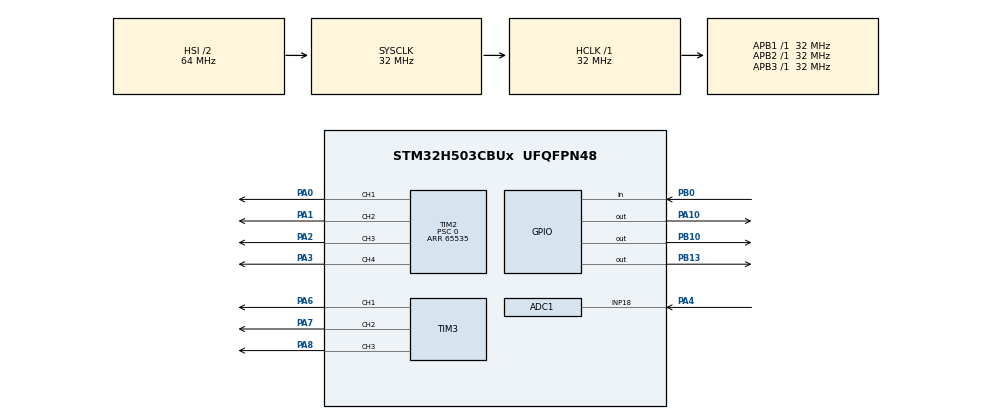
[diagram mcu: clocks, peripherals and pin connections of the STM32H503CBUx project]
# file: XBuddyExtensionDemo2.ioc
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ADC1.Channel-0\#ChannelRegularConversion=ADC_CHANNEL_18
ADC1.ClockPrescaler=ADC_CLOCK_SYNC_PCLK_DIV4
ADC1.ContinuousConvMode=DISABLE
ADC1.ExternalTrigConv=ADC_EXTERNALTRIG_T1_TRGO
ADC1.MonitoredBy-0\#ChannelRegularConversion=__NULL
ADC1.NbrOfConversionFlag=1
ADC1.OffsetNumber-0\#ChannelRegularConversion=ADC_OFFSET_NONE
ADC1.Rank-0\#ChannelRegularConversion=1
ADC1.SamplingTime-0\#ChannelRegularConversion=ADC_SAMPLETIME_640CYCLES_5
ADC1.master=1
BOOTPATH.BootPathName=LEGACY
BOOTPATH.UserSelectedBootPath=LEGACY
Mcu.Family=STM32H5
Mcu.Name=STM32H503CBUx
Mcu.Package=UFQFPN48
NVIC.ADC1_IRQn=true\:0\:0\:false\:false\:true\:true\:true\:true
NVIC.PriorityGroup=NVIC_PRIORITYGROUP_4
PA0.Signal=S_TIM2_CH1
PA1.Signal=S_TIM2_CH2
PA10.PinState=GPIO_PIN_SET
PA10.Signal=GPIO_Output
PA2.Signal=S_TIM2_CH3
PA3.Signal=S_TIM2_CH4
PA4.Signal=ADCx_INP18
PA6.Signal=S_TIM3_CH1
PA7.Signal=S_TIM3_CH2
PA8.Signal=S_TIM3_CH3
PB0.GPIO_PuPd=GPIO_PULLUP
PB0.Signal=GPIO_Input
PB10.PinState=GPIO_PIN_SET
PB10.Signal=GPIO_Output
PB13.PinState=GPIO_PIN_SET
PB13.Signal=GPIO_Output
PH0-OSC_IN(PH0).Mode=HSE-External-Oscillator
PH0-OSC_IN(PH0).Signal=RCC_OSC_IN
PH1-OSC_OUT(PH1).Mode=HSE-External-Oscillator
PH1-OSC_OUT(PH1).Signal=RCC_OSC_OUT
ProjectManager.HeapSize=0x200
ProjectManager.StackSize=0x400
ProjectManager.TargetToolchain=STM32CubeIDE
RCC.ADCFreq_Value=32000000
RCC.AHBFreq_Value=32000000
RCC.APB1Freq_Value=32000000
RCC.APB1TimFreq_Value=32000000
RCC.APB2Freq_Value=32000000
RCC.APB2TimFreq_Value=32000000
RCC.APB3Freq_Value=32000000
RCC.CSI_VALUE=4000000
RCC.CortexFreq_Value=32000000
RCC.EPOD_VALUE=4000000
RCC.HCLKFreq_Value=32000000
RCC.HSE_VALUE=25000000
RCC.HSI48_VALUE=48000000
RCC.HSI_VALUE=64000000
RCC.LSE_VALUE=32768
RCC.LSIRC_VALUE=32000
RCC.SYSCLKFreq_VALUE=32000000
RCC.USBFreq_Value=48000000
RCC.VCOOutputFreq_Value=516000000
SH.ADCx_INP18.0=ADC1_INP18,IN18-Single-Ended
SH.S_TIM2_CH1.0=TIM2_CH1,PWM Generation1 CH1
SH.S_TIM2_CH2.0=TIM2_CH2,PWM Generation2 CH2
SH.S_TIM2_CH3.0=TIM2_CH3,PWM Generation3 CH3
SH.S_TIM2_CH4.0=TIM2_CH4,PWM Generation4 CH4
SH.S_TIM3_CH1.0=TIM3_CH1,PWM Generation1 CH1
SH.S_TIM3_CH2.0=TIM3_CH2,PWM Generation2 CH2
SH.S_TIM3_CH3.0=TIM3_CH3,PWM Generation3 CH3
TIM1.TIM_MasterOutputTrigger=TIM_TRGO_UPDATE
TIM2.AutoReloadPreload=TIM_AUTORELOAD_PRELOAD_ENABLE
TIM2.Channel-PWM\ Generation1\ CH1=TIM_CHANNEL_1
TIM2.Channel-PWM\ Generation2\ CH2=TIM_CHANNEL_2
TIM2.Channel-PWM\ Generation3\ CH3=TIM_CHANNEL_3
TIM2.Channel-PWM\ Generation4\ CH4=TIM_CHANNEL_4
TIM2.PeriodNoDither=65535
TIM2.Prescaler=0
TIM3.AutoReloadPreload=TIM_AUTORELOAD_PRELOAD_ENABLE
TIM3.Channel-PWM\ Generation1\ CH1=TIM_CHANNEL_1
TIM3.Channel-PWM\ Generation2\ CH2=TIM_CHANNEL_2
TIM3.Channel-PWM\ Generation3\ CH3=TIM_CHANNEL_3
VP_BOOTPATH_VS_BOOTPATH.Mode=BP_Activate
VP_CORTEX_M33_NS_VS_Hclk.Mode=Hclk_Mode
VP_ICACHE_VS_ICACHE.Mode=DefaultMode
VP_MEMORYMAP_VS_MEMORYMAP.Mode=CurAppReg
VP_PWR_VS_DBSignals.Mode=DisableDeadBatterySignals
VP_PWR_VS_LPOM.Mode=PowerOptimisation
VP_PWR_VS_SECSignals.Mode=Security/Privilege
VP_TIM1_VS_ClockSourceINT.Mode=Internal
VP_TIM2_VS_ClockSourceINT.Mode=Internal
VP_TIM3_VS_ClockSourceINT.Mode=Internal
board=custom

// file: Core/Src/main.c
/* USER CODE BEGIN Header */
/**
  ******************************************************************************
  * @file           : main.c
  * @brief          : Main program body
  ******************************************************************************
  * @attention
  *
  * Copyright (c) 2024 STMicroelectronics.
  * All rights reserved.
  *
  * This software is licensed under terms that can be found in the LICENSE file
  * in the root directory of this software component.
  * If no LICENSE file comes with this software, it is provided AS-IS.
  *
  ******************************************************************************
  */
/* USER CODE END Header */
#include "main.h"

ADC_HandleTypeDef hadc1;

TIM_HandleTypeDef htim1;
TIM_HandleTypeDef htim2;
TIM_HandleTypeDef htim3;

void SystemClock_Config(void);
static void MX_GPIO_Init(void);
static void MX_ICACHE_Init(void);
static void MX_TIM2_Init(void);
static void MX_TIM3_Init(void);
static void MX_ADC1_Init(void);
static void MX_TIM1_Init(void);

int main(void)
{

  /* MCU Configuration--------------------------------------------------------*/

  /* Reset of all peripherals, Initializes the Flash interface and the Systick. */
  HAL_Init();

  /* Configure the system clock */
  SystemClock_Config();

  /* Initialize all configured peripherals */
  MX_GPIO_Init();
  MX_ICACHE_Init();
  MX_TIM2_Init();
  MX_TIM3_Init();
  MX_ADC1_Init();
  MX_TIM1_Init();
  /* USER CODE BEGIN 2 */

  HAL_TIM_PWM_Start(&htim2, TIM_CHANNEL_1);
  HAL_TIM_PWM_Start(&htim2, TIM_CHANNEL_2);
  HAL_TIM_PWM_Start(&htim2, TIM_CHANNEL_3);
  HAL_TIM_PWM_Start(&htim2, TIM_CHANNEL_4);

  HAL_TIM_PWM_Start(&htim3, TIM_CHANNEL_1);
  HAL_TIM_PWM_Start(&htim3, TIM_CHANNEL_2);
  HAL_TIM_PWM_Start(&htim3, TIM_CHANNEL_3);

  HAL_TIM_Base_Start(&htim1);

    /* Start ADC in interrupt mode */
  HAL_ADC_Start_IT(&hadc1);

  const float color_red[4] = 	{0,0,0,1};
  const float color_green[4] = 	{0,0,1,0};
  const float color_blue[4] = 	{0,1,0,0};
  const float color_yellow[4] = {0,0,1,1};
  const float color_white[4] = 	{0,1,1,1};

  const int blink_delay_ms = 2000;

  const float led_power = 0.8;
  const float fan_power = 0.35;

  /* USER CODE END 2 */

  /* Infinite loop */
  while (1)
  {

    /* USER CODE BEGIN 3 */
	  /*TIM2->CCR1 = 2000; //D_PWM_W
	  TIM2->CCR2 = 2000; //D_PWM_B
	  TIM2->CCR3 = 2000; //D_PWM_G
	  TIM2->CCR4 = 2000; //D_PWM_R*/

	  TIM3->CCR1 = (int)(65532*led_power); //D_PWM_STRIP - 80% PWM
	  TIM3->CCR2 = 65532 - (int)(65532*fan_power); //D_FAN2_PWM - 55% PWM (value inverted)
	  TIM3->CCR3 = 65532 - (int)(65532*fan_power); //D_FAN1_PWM - 55% PWM (value inverted)

	  while (1){
		  set_wbgr_strip_color(color_white);
		  HAL_Delay(blink_delay_ms);
		  set_wbgr_strip_color(color_blue);
		  HAL_Delay(blink_delay_ms);
		  set_wbgr_strip_color(color_green);
		  HAL_Delay(blink_delay_ms);
		  set_wbgr_strip_color(color_yellow);
		  HAL_Delay(blink_delay_ms);
		  set_wbgr_strip_color(color_red);
		  HAL_Delay(blink_delay_ms);
	  }
  }
  /* USER CODE END 3 */
}

void SystemClock_Config(void)
{
  RCC_OscInitTypeDef RCC_OscInitStruct = {0};
  RCC_ClkInitTypeDef RCC_ClkInitStruct = {0};

  /** Configure the main internal regulator output voltage
  */
  __HAL_PWR_VOLTAGESCALING_CONFIG(PWR_REGULATOR_VOLTAGE_SCALE3);

  while(!__HAL_PWR_GET_FLAG(PWR_FLAG_VOSRDY)) {}

  /** Initializes the RCC Oscillators according to the specified parameters
  * in the RCC_OscInitTypeDef structure.
  */
  RCC_OscInitStruct.OscillatorType = RCC_OSCILLATORTYPE_HSI;
  RCC_OscInitStruct.HSIState = RCC_HSI_ON;
  RCC_OscInitStruct.HSIDiv = RCC_HSI_DIV2;
  RCC_OscInitStruct.HSICalibrationValue = RCC_HSICALIBRATION_DEFAULT;
  RCC_OscInitStruct.PLL.PLLState = RCC_PLL_NONE;
  if (HAL_RCC_OscConfig(&RCC_OscInitStruct) != HAL_OK)
  {
    Error_Handler();
  }

  /** Initializes the CPU, AHB and APB buses clocks
  */
  RCC_ClkInitStruct.ClockType = RCC_CLOCKTYPE_HCLK|RCC_CLOCKTYPE_SYSCLK
                              |RCC_CLOCKTYPE_PCLK1|RCC_CLOCKTYPE_PCLK2
                              |RCC_CLOCKTYPE_PCLK3;
  RCC_ClkInitStruct.SYSCLKSource = RCC_SYSCLKSOURCE_HSI;
  RCC_ClkInitStruct.AHBCLKDivider = RCC_SYSCLK_DIV1;
  RCC_ClkInitStruct.APB1CLKDivider = RCC_HCLK_DIV1;
  RCC_ClkInitStruct.APB2CLKDivider = RCC_HCLK_DIV1;
  RCC_ClkInitStruct.APB3CLKDivider = RCC_HCLK_DIV1;

  if (HAL_RCC_ClockConfig(&RCC_ClkInitStruct, FLASH_LATENCY_1) != HAL_OK)
  {
    Error_Handler();
  }

  /** Configure the programming delay
  */
  __HAL_FLASH_SET_PROGRAM_DELAY(FLASH_PROGRAMMING_DELAY_0);
}

static void MX_ADC1_Init(void)
{

  ADC_ChannelConfTypeDef sConfig = {0};

  /** Common config
  */
  hadc1.Instance = ADC1;
  hadc1.Init.ClockPrescaler = ADC_CLOCK_SYNC_PCLK_DIV4;
  hadc1.Init.Resolution = ADC_RESOLUTION_12B;
  hadc1.Init.DataAlign = ADC_DATAALIGN_RIGHT;
  hadc1.Init.ScanConvMode = ADC_SCAN_DISABLE;
  hadc1.Init.EOCSelection = ADC_EOC_SINGLE_CONV;
  hadc1.Init.LowPowerAutoWait = DISABLE;
  hadc1.Init.ContinuousConvMode = DISABLE;
  hadc1.Init.NbrOfConversion = 1;
  hadc1.Init.DiscontinuousConvMode = DISABLE;
  hadc1.Init.ExternalTrigConv = ADC_EXTERNALTRIG_T1_TRGO;
  hadc1.Init.ExternalTrigConvEdge = ADC_EXTERNALTRIGCONVEDGE_RISING;
  hadc1.Init.DMAContinuousRequests = DISABLE;
  hadc1.Init.SamplingMode = ADC_SAMPLING_MODE_NORMAL;
  hadc1.Init.Overrun = ADC_OVR_DATA_PRESERVED;
  hadc1.Init.OversamplingMode = DISABLE;
  if (HAL_ADC_Init(&hadc1) != HAL_OK)
  {
    Error_Handler();
  }

  /** Configure Regular Channel
  */
  sConfig.Channel = ADC_CHANNEL_18;
  sConfig.Rank = ADC_REGULAR_RANK_1;
  sConfig.SamplingTime = ADC_SAMPLETIME_640CYCLES_5;
  sConfig.SingleDiff = ADC_SINGLE_ENDED;
  sConfig.OffsetNumber = ADC_OFFSET_NONE;
  sConfig.Offset = 0;
  if (HAL_ADC_ConfigChannel(&hadc1, &sConfig) != HAL_OK)
  {
    Error_Handler();
  }

}

static void MX_ICACHE_Init(void)
{

  /** Enable instruction cache (default 2-ways set associative cache)
  */
  if (HAL_ICACHE_Enable() != HAL_OK)
  {
    Error_Handler();
  }

}

static void MX_TIM1_Init(void)
{

  TIM_ClockConfigTypeDef sClockSourceConfig = {0};
  TIM_MasterConfigTypeDef sMasterConfig = {0};

  htim1.Instance = TIM1;
  htim1.Init.Prescaler = 0;
  htim1.Init.CounterMode = TIM_COUNTERMODE_UP;
  htim1.Init.Period = 65535;
  htim1.Init.ClockDivision = TIM_CLOCKDIVISION_DIV1;
  htim1.Init.RepetitionCounter = 0;
  htim1.Init.AutoReloadPreload = TIM_AUTORELOAD_PRELOAD_DISABLE;
  if (HAL_TIM_Base_Init(&htim1) != HAL_OK)
  {
    Error_Handler();
  }
  sClockSourceConfig.ClockSource = TIM_CLOCKSOURCE_INTERNAL;
  if (HAL_TIM_ConfigClockSource(&htim1, &sClockSourceConfig) != HAL_OK)
  {
    Error_Handler();
  }
  sMasterConfig.MasterOutputTrigger = TIM_TRGO_UPDATE;
  sMasterConfig.MasterOutputTrigger2 = TIM_TRGO2_RESET;
  sMasterConfig.MasterSlaveMode = TIM_MASTERSLAVEMODE_DISABLE;
  if (HAL_TIMEx_MasterConfigSynchronization(&htim1, &sMasterConfig) != HAL_OK)
  {
    Error_Handler();
  }

}

static void MX_TIM2_Init(void)
{

  TIM_ClockConfigTypeDef sClockSourceConfig = {0};
  TIM_MasterConfigTypeDef sMasterConfig = {0};
  TIM_OC_InitTypeDef sConfigOC = {0};

  htim2.Instance = TIM2;
  htim2.Init.Prescaler = 0;
  htim2.Init.CounterMode = TIM_COUNTERMODE_UP;
  htim2.Init.Period = 65535;
  htim2.Init.ClockDivision = TIM_CLOCKDIVISION_DIV1;
  htim2.Init.AutoReloadPreload = TIM_AUTORELOAD_PRELOAD_ENABLE;
  if (HAL_TIM_Base_Init(&htim2) != HAL_OK)
  {
    Error_Handler();
  }
  sClockSourceConfig.ClockSource = TIM_CLOCKSOURCE_INTERNAL;
  if (HAL_TIM_ConfigClockSource(&htim2, &sClockSourceConfig) != HAL_OK)
  {
    Error_Handler();
  }
  if (HAL_TIM_PWM_Init(&htim2) != HAL_OK)
  {
    Error_Handler();
  }
  sMasterConfig.MasterOutputTrigger = TIM_TRGO_RESET;
  sMasterConfig.MasterSlaveMode = TIM_MASTERSLAVEMODE_DISABLE;
  if (HAL_TIMEx_MasterConfigSynchronization(&htim2, &sMasterConfig) != HAL_OK)
  {
    Error_Handler();
  }
  sConfigOC.OCMode = TIM_OCMODE_PWM1;
  sConfigOC.Pulse = 0;
  sConfigOC.OCPolarity = TIM_OCPOLARITY_HIGH;
  sConfigOC.OCFastMode = TIM_OCFAST_DISABLE;
  if (HAL_TIM_PWM_ConfigChannel(&htim2, &sConfigOC, TIM_CHANNEL_1) != HAL_OK)
  {
    Error_Handler();
  }
  if (HAL_TIM_PWM_ConfigChannel(&htim2, &sConfigOC, TIM_CHANNEL_2) != HAL_OK)
  {
    Error_Handler();
  }
  if (HAL_TIM_PWM_ConfigChannel(&htim2, &sConfigOC, TIM_CHANNEL_3) != HAL_OK)
  {
    Error_Handler();
  }
  if (HAL_TIM_PWM_ConfigChannel(&htim2, &sConfigOC, TIM_CHANNEL_4) != HAL_OK)
  {
    Error_Handler();
  }
  HAL_TIM_MspPostInit(&htim2);

}

static void MX_TIM3_Init(void)
{

  TIM_ClockConfigTypeDef sClockSourceConfig = {0};
  TIM_MasterConfigTypeDef sMasterConfig = {0};
  TIM_OC_InitTypeDef sConfigOC = {0};

  htim3.Instance = TIM3;
  htim3.Init.Prescaler = 0;
  htim3.Init.CounterMode = TIM_COUNTERMODE_UP;
  htim3.Init.Period = 65535;
  htim3.Init.ClockDivision = TIM_CLOCKDIVISION_DIV1;
  htim3.Init.AutoReloadPreload = TIM_AUTORELOAD_PRELOAD_ENABLE;
  if (HAL_TIM_Base_Init(&htim3) != HAL_OK)
  {
    Error_Handler();
  }
  sClockSourceConfig.ClockSource = TIM_CLOCKSOURCE_INTERNAL;
  if (HAL_TIM_ConfigClockSource(&htim3, &sClockSourceConfig) != HAL_OK)
  {
    Error_Handler();
  }
  if (HAL_TIM_PWM_Init(&htim3) != HAL_OK)
  {
    Error_Handler();
  }
  sMasterConfig.MasterOutputTrigger = TIM_TRGO_RESET;
  sMasterConfig.MasterSlaveMode = TIM_MASTERSLAVEMODE_DISABLE;
  if (HAL_TIMEx_MasterConfigSynchronization(&htim3, &sMasterConfig) != HAL_OK)
  {
    Error_Handler();
  }
  sConfigOC.OCMode = TIM_OCMODE_PWM1;
  sConfigOC.Pulse = 0;
  sConfigOC.OCPolarity = TIM_OCPOLARITY_HIGH;
  sConfigOC.OCFastMode = TIM_OCFAST_DISABLE;
  if (HAL_TIM_PWM_ConfigChannel(&htim3, &sConfigOC, TIM_CHANNEL_1) != HAL_OK)
  {
    Error_Handler();
  }
  if (HAL_TIM_PWM_ConfigChannel(&htim3, &sConfigOC, TIM_CHANNEL_2) != HAL_OK)
  {
    Error_Handler();
  }
  if (HAL_TIM_PWM_ConfigChannel(&htim3, &sConfigOC, TIM_CHANNEL_3) != HAL_OK)
  {
    Error_Handler();
  }
  HAL_TIM_MspPostInit(&htim3);

}

static void MX_GPIO_Init(void)
{
  GPIO_InitTypeDef GPIO_InitStruct = {0};

  /* GPIO Ports Clock Enable */
  __HAL_RCC_GPIOH_CLK_ENABLE();
  __HAL_RCC_GPIOA_CLK_ENABLE();
  __HAL_RCC_GPIOB_CLK_ENABLE();

  /*Configure GPIO pin Output Level */
  HAL_GPIO_WritePin(GPIOB, GPIO_PIN_10|GPIO_PIN_13, GPIO_PIN_SET);

  /*Configure GPIO pin Output Level */
  HAL_GPIO_WritePin(GPIOA, GPIO_PIN_10, GPIO_PIN_SET);

  /*Configure GPIO pin : PB0 */
  GPIO_InitStruct.Pin = GPIO_PIN_0;
  GPIO_InitStruct.Mode = GPIO_MODE_INPUT;
  GPIO_InitStruct.Pull = GPIO_PULLUP;
  HAL_GPIO_Init(GPIOB, &GPIO_InitStruct);

  /*Configure GPIO pins : PB10 PB13 */
  GPIO_InitStruct.Pin = GPIO_PIN_10|GPIO_PIN_13;
  GPIO_InitStruct.Mode = GPIO_MODE_OUTPUT_PP;
  GPIO_InitStruct.Pull = GPIO_NOPULL;
  GPIO_InitStruct.Speed = GPIO_SPEED_FREQ_LOW;
  HAL_GPIO_Init(GPIOB, &GPIO_InitStruct);

  /*Configure GPIO pin : PA10 */
  GPIO_InitStruct.Pin = GPIO_PIN_10;
  GPIO_InitStruct.Mode = GPIO_MODE_OUTPUT_PP;
  GPIO_InitStruct.Pull = GPIO_NOPULL;
  GPIO_InitStruct.Speed = GPIO_SPEED_FREQ_LOW;
  HAL_GPIO_Init(GPIOA, &GPIO_InitStruct);

}

/* USER CODE BEGIN 4 */
void set_wbgr_strip_color(const float* color){
	TIM2->CCR1 = (int)(65532 * color[0]); //D_PWM_W
	TIM2->CCR2 = (int)(65532 * color[1]); //D_PWM_B
	TIM2->CCR3 = (int)(65532 * color[2]); //D_PWM_G
	TIM2->CCR4 = (int)(65532 * color[3]); //D_PWM_R
}

#define ADC_MAX 4095        // 10-bit ADC
#define R_FIXED 4700.0      // Fixed 4.7kΩ resistor
#define BETA 3950.0         // Beta coefficient of the thermistor
#define T0 298.15           // Reference temperature (25°C in Kelvin)
#define R0 100000.0         // Thermistor resistance at 25°C (100kΩ)

// ADC reference seems to be little bit lower than 3V3 rail.
// This less than 2% tweak makes a huge difference in output precision.
#define ADC_SCALING_FACTOR 0.98238352828

float adc_to_temperature(uint16_t adc_value) {
	float adc_scaled = adc_value*ADC_SCALING_FACTOR;

	float r_therm = (R_FIXED * adc_scaled)/(ADC_MAX-adc_scaled);
	float temp_kelvin = 1.0 / ((1.0/T0)-(log(R0/r_therm)/BETA));
	float temp_celsius = temp_kelvin - 273.15;

	return temp_celsius;
}

void HAL_ADC_ConvCpltCallback(ADC_HandleTypeDef* hadc)
{
  if (hadc->Instance == ADC1)
  {
    // ADC conversion complete, get the value
    uint32_t raw_adc = HAL_ADC_GetValue(hadc);
    uint32_t temperature = adc_to_temperature(raw_adc);
  }
}

/* USER CODE END 4 */

void Error_Handler(void)
{
  __disable_irq();
  while (1)
  {
  }
}
